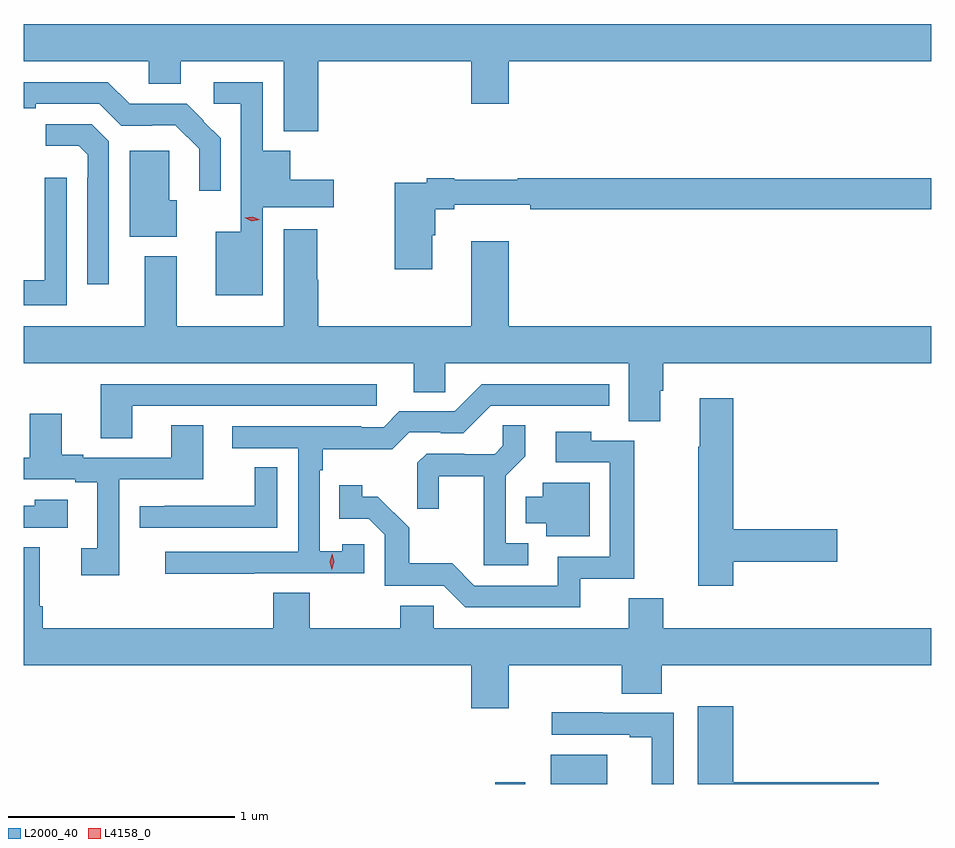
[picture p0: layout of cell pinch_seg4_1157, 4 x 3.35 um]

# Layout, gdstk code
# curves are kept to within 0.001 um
import gdstk
lib = gdstk.Library(unit=1e-6, precision=1e-09)
def R(c, l, rs):  # rectangles x0, y0, x1, y1
    for r in rs: c.add(gdstk.rectangle(r[:2], r[2:], *l))
def P(c, l, *ps):  # polygons
    for p in ps: c.add(gdstk.Polygon(p, *l))
L2000_40 = (2000, 40)
L4158_0 = (4158, 0)

pinch_seg4_1157 = lib.new_cell('pinch_seg4_1157')
R(pinch_seg4_1157, L2000_40, [(428.85,762.997,428.981,763.005), (429.095,762.997,429.343,763.126)])
P(pinch_seg4_1157, L2000_40, [(428.069,766.184),(428.744,766.184),(428.744,765.996),(428.908,765.996),(428.908,766.184),(430.771,766.184),(430.771,766.348),(426.771,766.348),(426.771,766.184),(427.322,766.184),(427.322,766.085),(427.462,766.085),(427.462,766.184),(427.916,766.184),(427.916,765.875),(428.069,765.875)],
  [(427.638,765.844),(427.488,765.996),(427.237,765.996),(427.141,766.092),(426.771,766.092),(426.771,765.976),(426.823,765.976),(426.823,765.996),(427.104,765.996),(427.2,765.9),(427.336,765.9),(427.336,765.902),(427.438,765.902),(427.544,765.797),(427.544,765.612),(427.638,765.612)],
  [(427.824,765.539),(428.137,765.539),(428.137,765.661),(427.945,765.661),(427.945,765.79),(427.824,765.79),(427.824,766.092),(427.608,766.092),(427.608,765.996),(427.728,765.996),(427.728,765.433),(427.616,765.433),(427.616,765.152),(427.824,765.152)],
  [(427.146,765.831),(427.071,765.906),(426.867,765.906),(426.867,765.812),(427.013,765.812),(427.053,765.771),(427.053,765.671),(427.05,765.671),(427.05,765.201),(427.146,765.201)],
  [(427.444,765.571),(427.411,765.571),(427.411,765.789),(427.238,765.789),(427.238,765.41),(427.444,765.41)],
  [(426.96,765.67),(426.863,765.67),(426.863,765.219),(426.771,765.219),(426.771,765.108),(426.96,765.108)],
  [(428.572,765.417),(428.585,765.417),(428.585,765.532),(428.668,765.532),(428.668,765.551),(429.004,765.551),(429.004,765.532),(430.771,765.532),(430.771,765.668),(428.948,765.668),(428.948,765.661),(428.668,765.661),(428.668,765.668),(428.548,765.668),(428.548,765.648),(428.407,765.648),(428.407,765.267),(428.572,765.267)],
  [(429.577,764.73),(429.59,764.73),(429.59,764.852),(430.771,764.852),(430.771,765.016),(428.908,765.016),(428.908,765.391),(428.744,765.391),(428.744,765.016),(428.069,765.016),(428.069,765.221),(428.064,765.221),(428.064,765.442),(427.916,765.442),(427.916,765.016),(427.444,765.016),(427.444,765.325),(427.304,765.325),(427.304,765.016),(426.771,765.016),(426.771,764.852),(428.489,764.852),(428.489,764.725),(428.628,764.725),(428.628,764.852),(429.437,764.852),(429.437,764.596),(429.577,764.596)],
  [(427.787,763.926),(428.271,763.926),(428.271,764.055),(428.175,764.055),(428.175,764.023),(428.076,764.023),(428.076,764.381),(428.089,764.381),(428.089,764.474),(428.396,764.474),(428.469,764.547),(428.608,764.547),(428.608,764.544),(428.709,764.544),(428.829,764.664),(429.352,764.664),(429.352,764.76),(428.79,764.76),(428.67,764.64),(428.427,764.64),(428.358,764.571),(428.258,764.571),(428.258,764.574),(427.689,764.574),(427.689,764.478),(427.98,764.478),(427.98,764.022),(427.395,764.022),(427.395,763.924),(427.787,763.924)],
  [(427.249,764.664),(428.326,764.664),(428.326,764.76),(427.109,764.76),(427.109,764.521),(427.249,764.521)],
  [(429.899,763.978),(430.357,763.978),(430.357,764.12),(429.899,764.12),(429.899,764.698),(429.752,764.698),(429.752,764.485),(429.745,764.485),(429.745,763.872),(429.899,763.872)],
  [(427.191,764.34),(427.561,764.34),(427.561,764.579),(427.421,764.579),(427.421,764.436),(427.033,764.436),(427.033,764.449),(426.937,764.449),(426.937,764.629),(426.797,764.629),(426.797,764.436),(426.771,764.436),(426.771,764.34),(426.998,764.34),(426.998,764.328),(427.094,764.328),(427.094,764.037),(427.023,764.037),(427.023,763.917),(427.191,763.917)],
  [(428.995,764.058),(428.895,764.058),(428.895,764.357),(428.981,764.443),(428.981,764.579),(428.883,764.579),(428.883,764.488),(428.846,764.451),(428.712,764.451),(428.712,764.454),(428.547,764.454),(428.506,764.413),(428.506,764.211),(428.6,764.211),(428.6,764.354),(428.798,764.354),(428.798,763.962),(428.995,763.962)],
  [(429.224,763.902),(429.463,763.902),(429.463,764.511),(429.273,764.511),(429.273,764.551),(429.117,764.551),(429.117,764.415),(429.354,764.415),(429.354,763.998),(429.125,763.998),(429.125,763.872),(428.757,763.872),(428.659,763.971),(428.47,763.971),(428.47,764.126),(428.332,764.264),(428.262,764.264),(428.262,764.314),(428.161,764.314),(428.161,764.166),(428.292,764.166),(428.361,764.097),(428.361,763.872),(428.622,763.872),(428.718,763.776),(429.224,763.776)],
  [(427.887,764.393),(427.789,764.393),(427.789,764.223),(427.393,764.223),(427.393,764.222),(427.281,764.222),(427.281,764.127),(427.887,764.127)],
  [(429.265,764.326),(429.059,764.326),(429.059,764.263),(428.984,764.263),(428.984,764.147),(429.074,764.147),(429.074,764.09),(429.265,764.09)],
  [(426.964,764.251),(426.819,764.251),(426.819,764.223),(426.771,764.223),(426.771,764.127),(426.964,764.127)],
  [(428.908,763.52),(429.407,763.52),(429.407,763.396),(429.584,763.396),(429.584,763.52),(430.771,763.52),(430.771,763.684),(429.59,763.684),(429.59,763.817),(429.437,763.817),(429.437,763.684),(428.577,763.684),(428.577,763.782),(428.431,763.782),(428.431,763.684),(428.031,763.684),(428.031,763.841),(427.871,763.841),(427.871,763.684),(426.854,763.684),(426.854,763.78),(426.841,763.78),(426.841,764.041),(426.771,764.041),(426.771,763.52),(428.744,763.52),(428.744,763.332),(428.908,763.332)],
  [(430.54,763.004),(429.899,763.004),(429.899,763.339),(429.743,763.339),(429.743,762.997),(430.54,762.997)],
  [(429.636,763.311),(429.323,763.311),(429.323,763.313),(429.099,763.313),(429.099,763.215),(429.443,763.215),(429.443,763.203),(429.539,763.203),(429.539,762.997),(429.636,762.997)])
P(pinch_seg4_1157, L4158_0, [(427.776,765.479),(427.745,765.493),(427.745,765.494),(427.745,765.494),(427.779,765.499),(427.81,765.485),(427.81,765.485),(427.81,765.484)],
  [(428.128,763.941),(428.128,763.941),(428.119,763.978),(428.13,764.013),(428.131,764.013),(428.131,764.013),(428.139,763.977),(428.128,763.941)])

lib.write_gds('pinch_seg4_1157.gds')
